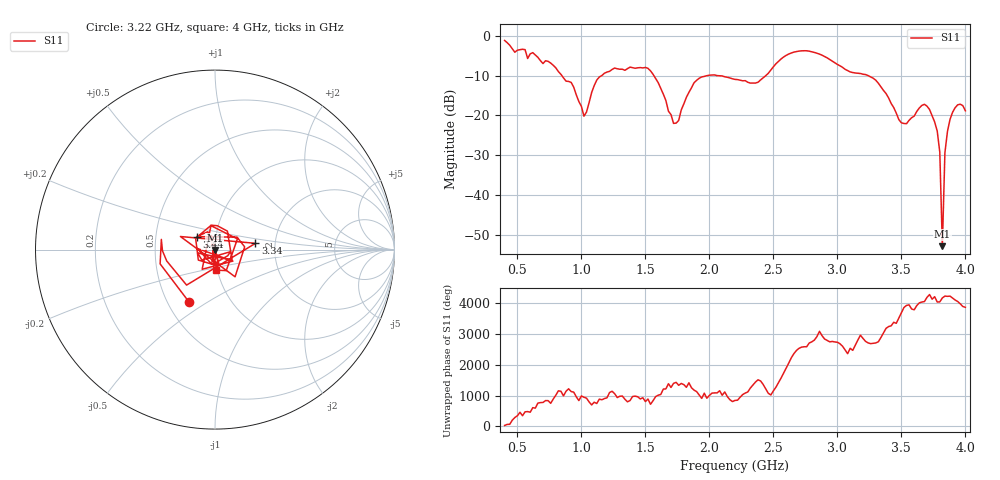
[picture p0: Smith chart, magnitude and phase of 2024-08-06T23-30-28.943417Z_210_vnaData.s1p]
!Created with skrf (http://scikit-rf.org).
# Hz S RI R 50.0
!freq ReS11 ImS11
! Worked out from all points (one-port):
!   181 points, 400 MHz to 4 GHz, reference 50 ohm
!   lowest |S11| = -52.8 dB at 3.82 GHz (marker M1), VSWR 1.00, Z = 49.8 - j0.138 ohm
!   |S11| at or under -10 dB: 1.566 GHz to 1.984 GHz (418 MHz wide, 23.6 % of centre); 2.059 GHz to 2.441 GHz (382.1 MHz wide, 17 % of centre); 3.239 GHz to end of sweep (the widest 3 of 4)
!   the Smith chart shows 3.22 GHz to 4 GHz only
!   S11 on the Smith chart (normalised r, x): 3.22 GHz: 0.64, -0.42; 3.34 GHz: 1.58, +0.12; 3.44 GHz: 0.81, +0.12; 4 GHz: 0.98, -0.23
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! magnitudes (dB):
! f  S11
! 400 MHz  -1.2
! 860 MHz  -10.6
! 920 MHz  -11.7
! 1.02 GHz  -20.2
! 1.12 GHz  -11.1
! 1.3 GHz  -8.4
! 1.52 GHz  -8.2
! 1.6 GHz  -11.8
! 1.72 GHz  -22.0
! 1.76 GHz  -21.3
! 1.92 GHz  -10.7
! 2.2 GHz  -11.0
! 2.38 GHz  -11.7
! 2.66 GHz  -4.1
! 3.1 GHz  -9.1
! 3.22 GHz  -9.8
! 3.34 GHz  -12.8
! 3.44 GHz  -18.0
! 3.5 GHz  -21.8
! 3.56 GHz  -21.2
! 3.68 GHz  -17.2
! 3.78 GHz  -23.9
! 3.8 GHz  -29.2
! 3.82 GHz  -52.8
! 3.84 GHz  -29.3
! 3.86 GHz  -24.0
! 3.92 GHz  -18.1
! 4 GHz  -18.8
